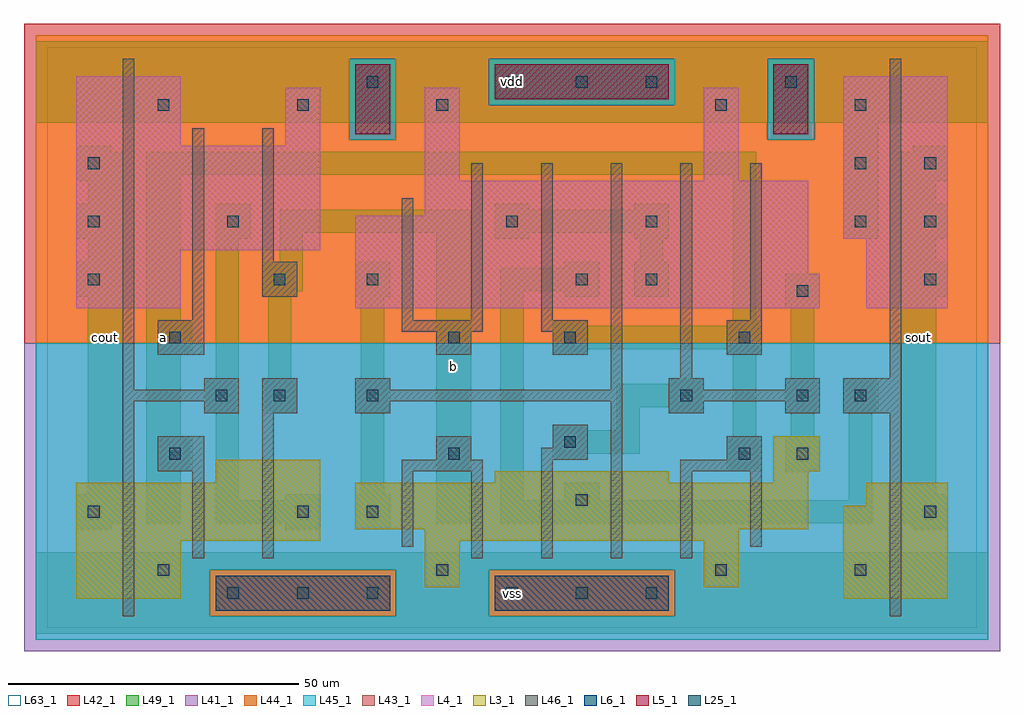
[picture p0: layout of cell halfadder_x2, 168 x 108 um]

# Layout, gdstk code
import gdstk
lib = gdstk.Library(unit=1e-6, precision=1e-09)
def R(c, l, rs):  # rectangles x0, y0, x1, y1
    for r in rs: c.add(gdstk.rectangle(r[:2], r[2:], *l))
def A(c, l, x, y, w, h, nx, ny, dx, dy):  # array of equal rectangles
    R(c, l, [(x+i*dx, y+j*dy, x+i*dx+w, y+j*dy+h) for i in range(nx) for j in range(ny)])
L3_1 = (3, 1)
L4_1 = (4, 1)
L5_1 = (5, 1)
L6_1 = (6, 1)
L25_1 = (25, 1)
L41_1 = (41, 1)
L42_1 = (42, 1)
L43_1 = (43, 1)
L44_1 = (44, 1)
L45_1 = (45, 1)
L46_1 = (46, 1)
L49_1 = (49, 1)
L63_1 = (63, 1)

halfadder_x2 = lib.new_cell('halfadder_x2')
R(halfadder_x2, L3_1, [(5,5,23,15), (137,5,155,21), (65,7,71,15), (113,7,119,15), (5,15,47,25), (65,15,119,17), (53,17,131,25), (141,21,155,25), (29,25,47,29), (77,25,107,27), (125,25,131,27), (125,27,133,33)])
R(halfadder_x2, L4_1, [(5,55,23,65), (53,55,133,61), (141,55,155,67), (53,61,131,71), (5,65,47,83), (137,67,155,95), (65,71,131,77), (65,77,71,93), (113,77,119,93), (5,83,23,95), (41,83,47,93)])
R(halfadder_x2, L5_1, [(53,85,59,97), (125,85,131,97), (77,91,107,97)])
R(halfadder_x2, L6_1, [(29,3,59,9), (77,3,107,9)])
A(halfadder_x2, L25_1, 31, 5, 2, 2, 3, 1, 12, 0)
A(halfadder_x2, L25_1, 79, 5, 2, 2, 3, 2, 12, 88)
A(halfadder_x2, L25_1, 19, 9, 2, 2, 3, 1, 48, 0)
A(halfadder_x2, L25_1, 139, 9, 2, 2, 1, 3, 0, 30)
A(halfadder_x2, L25_1, 55, 19, 2, 2, 1, 3, 0, 20)
A(halfadder_x2, L25_1, 7, 59, 2, 2, 1, 3, 0, 10)
A(halfadder_x2, L25_1, 151, 59, 2, 2, 1, 3, 0, 10)
A(halfadder_x2, L25_1, 19, 89, 2, 2, 3, 1, 24, 0)
R(halfadder_x2, L25_1, [(7,19,9,21), (43,19,45,21), (151,19,153,21), (91,21,93,23), (21,29,23,31), (69,29,71,31), (119,29,121,31), (129,29,131,31), (89,31,91,33), (29,39,31,41), (39,39,41,41), (109,39,111,41), (129,39,131,41), (21,49,23,51), (69,49,71,51), (89,49,91,51), (119,49,121,51), (129,57,131,59), (39,59,41,61), (91,59,93,61), (103,59,105,61), (31,69,33,71), (79,69,81,71), (103,69,105,71), (139,79,141,81), (115,89,117,91), (139,89,141,91), (55,93,57,95), (127,93,129,95)])
R(halfadder_x2, L41_1, [(-4,-4,164,49)])
R(halfadder_x2, L42_1, [(-4,49,164,104)])
R(halfadder_x2, L43_1, [(29,3,59,9), (77,3,107,9), (5,5,23,15), (137,5,155,21), (65,7,71,15), (113,7,119,15), (5,15,47,25), (65,15,119,17), (53,17,131,25), (141,21,155,25), (29,25,47,29), (77,25,107,27), (125,25,131,27), (125,27,133,33), (5,55,23,65), (53,55,133,61), (141,55,155,67), (53,61,131,71), (5,65,47,83), (137,67,155,95), (65,71,131,77), (65,77,71,93), (113,77,119,93), (5,83,23,95), (41,83,47,93), (53,85,59,97), (125,85,131,97), (77,91,107,97)])
R(halfadder_x2, L44_1, [(28,2,60,10), (76,2,108,10), (-2,49,162,84), (-2,84,52,98), (60,84,124,90), (132,84,162,98), (60,90,76,98), (108,90,124,98), (-2,98,162,102)])
R(halfadder_x2, L45_1, [(-2,-2,162,2), (-2,2,28,10), (60,2,76,10), (108,2,162,10), (-2,10,162,49), (52,84,60,98), (124,84,132,98), (76,90,108,98)])
R(halfadder_x2, L46_1, [(13,2,15,39), (145,2,147,37), (25,12,27,27), (37,12,39,37), (73,12,75,27), (85,12,87,29), (97,12,99,39), (109,12,111,27), (61,14,63,27), (121,14,123,27), (19,27,27,33), (61,27,75,29), (109,27,123,29), (67,29,73,33), (85,29,93,31), (117,29,123,33), (87,31,93,35), (27,37,33,39), (37,37,43,43), (53,37,59,39), (107,37,113,39), (127,37,133,39), (137,37,147,43), (13,39,33,41), (53,39,99,41), (107,39,133,41), (13,41,15,98), (27,41,33,43), (53,41,59,43), (97,41,99,80), (107,41,113,43), (127,41,133,43), (109,43,111,80), (145,43,147,98), (19,47,27,53), (67,47,73,51), (87,47,93,51), (117,47,123,53), (61,51,75,53), (85,51,93,53), (25,53,27,86), (61,53,63,74), (73,53,75,80), (85,53,87,80), (121,53,123,80), (37,57,43,63), (37,63,39,86)])
A(halfadder_x2, L49_1, 53, 17, 6, 6, 1, 3, 0, 20)
R(halfadder_x2, L49_1, [(-2,-1,162,13), (5,17,11,18), (41,17,47,18), (149,17,155,18), (5,18,13,23), (17,18,23,27), (29,18,47,22), (67,18,73,68), (78,18,142,22), (147,18,155,23), (29,22,33,37), (41,22,47,23), (78,22,82,58), (89,22,95,25), (138,22,142,37), (7,23,13,57), (54,23,58,37), (147,23,153,57), (17,27,25,33), (117,27,123,33), (127,27,133,33), (87,29,93,30), (87,30,102,34), (17,33,23,47), (118,33,122,47), (128,33,132,37), (87,34,93,35), (98,34,102,38), (27,37,33,43), (37,37,43,43), (107,37,113,38), (127,37,133,43), (137,37,143,43), (98,38,113,42), (107,42,113,43), (29,43,33,67), (38,43,42,57), (54,43,58,57), (128,43,132,55), (17,47,25,53), (87,47,93,48), (117,47,123,48), (87,48,123,52), (87,52,93,53), (117,52,123,53), (17,53,23,78), (118,53,122,78), (127,55,133,61), (5,57,13,63), (37,57,43,58), (89,57,95,58), (101,57,107,63), (147,57,155,63), (37,58,44,63), (78,58,95,62), (89,62,95,63), (7,63,13,67), (40,63,44,68), (102,63,106,67), (147,63,153,67), (5,67,13,73), (29,67,35,73), (77,67,83,68), (101,67,107,68), (137,67,143,87), (147,67,155,73), (40,68,73,72), (77,68,107,72), (77,72,83,73), (101,72,107,73), (7,73,13,77), (147,73,153,77), (5,77,13,82), (147,77,155,82), (17,78,122,82), (5,82,11,83), (149,82,155,83), (-2,87,162,101)])
R(halfadder_x2, L63_1, [(0,0,160,100)])
halfadder_x2.add(gdstk.Label('a', (20,50), layer=49, texttype=1))
halfadder_x2.add(gdstk.Label('cout', (10,50), layer=49, texttype=1))
halfadder_x2.add(gdstk.Label('a', (20,50), layer=49, texttype=1))
halfadder_x2.add(gdstk.Label('cout', (10,50), layer=49, texttype=1))
halfadder_x2.add(gdstk.Label('vss', (80,6), layer=49, texttype=1))
halfadder_x2.add(gdstk.Label('vss', (80,6), layer=49, texttype=1))
halfadder_x2.add(gdstk.Label('b', (70,45), layer=49, texttype=1))
halfadder_x2.add(gdstk.Label('b', (70,45), layer=49, texttype=1))
halfadder_x2.add(gdstk.Label('vdd', (80,94), layer=49, texttype=1))
halfadder_x2.add(gdstk.Label('vdd', (80,94), layer=49, texttype=1))
halfadder_x2.add(gdstk.Label('sout', (150,50), layer=49, texttype=1))
halfadder_x2.add(gdstk.Label('sout', (150,50), layer=49, texttype=1))

lib.write_gds('halfadder_x2.gds')
